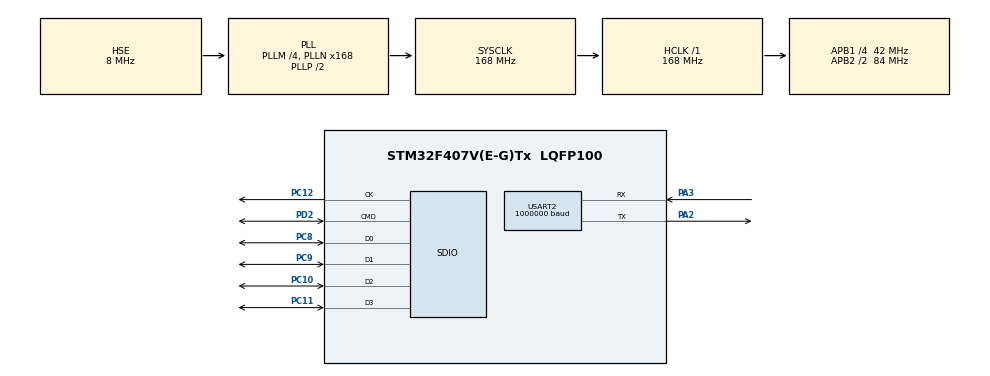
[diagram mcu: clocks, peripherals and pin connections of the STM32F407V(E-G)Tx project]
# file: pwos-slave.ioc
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Mcu.Family=STM32F4
Mcu.Name=STM32F407V(E-G)Tx
Mcu.Package=LQFP100
NVIC.PriorityGroup=NVIC_PRIORITYGROUP_4
PA13.Mode=Serial_Wire
PA13.Signal=SYS_JTMS-SWDIO
PA14.Mode=Serial_Wire
PA14.Signal=SYS_JTCK-SWCLK
PA2.Mode=Asynchronous
PA2.Signal=USART2_TX
PA3.Mode=Asynchronous
PA3.Signal=USART2_RX
PC10.Mode=SD_4_bits_Wide_bus
PC10.Signal=SDIO_D2
PC11.Mode=SD_4_bits_Wide_bus
PC11.Signal=SDIO_D3
PC12.Mode=SD_4_bits_Wide_bus
PC12.Signal=SDIO_CK
PC8.Mode=SD_4_bits_Wide_bus
PC8.Signal=SDIO_D0
PC9.Mode=SD_4_bits_Wide_bus
PC9.Signal=SDIO_D1
PD2.Mode=SD_4_bits_Wide_bus
PD2.Signal=SDIO_CMD
PH0-OSC_IN.Mode=HSE-External-Oscillator
PH0-OSC_IN.Signal=RCC_OSC_IN
PH1-OSC_OUT.Mode=HSE-External-Oscillator
PH1-OSC_OUT.Signal=RCC_OSC_OUT
ProjectManager.HeapSize=0x200
ProjectManager.StackSize=0x400
ProjectManager.TargetToolchain=CMake
RCC.48MHZClocksFreq_Value=48000000
RCC.AHBFreq_Value=168000000
RCC.APB1CLKDivider=RCC_HCLK_DIV4
RCC.APB1Freq_Value=42000000
RCC.APB1TimFreq_Value=84000000
RCC.APB2CLKDivider=RCC_HCLK_DIV2
RCC.APB2Freq_Value=84000000
RCC.APB2TimFreq_Value=168000000
RCC.CortexFreq_Value=168000000
RCC.HCLKFreq_Value=168000000
RCC.HSE_VALUE=8000000
RCC.HSI_VALUE=16000000
RCC.LSE_VALUE=32768
RCC.PLLM=4
RCC.PLLN=168
RCC.PLLQ=7
RCC.PLLSourceVirtual=RCC_PLLSOURCE_HSE
RCC.SYSCLKFreq_VALUE=168000000
RCC.SYSCLKSource=RCC_SYSCLKSOURCE_PLLCLK
RCC.VCOOutputFreq_Value=336000000
SDIO.ClockBypass=SDIO_CLOCK_BYPASS_DISABLE
SDIO.ClockDiv=4
USART2.BaudRate=1000000
USART2.VirtualMode=VM_ASYNC
board=custom

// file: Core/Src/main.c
/* USER CODE BEGIN Header */
/**
 ******************************************************************************
 * @file           : main.c
 * @brief          : Main program body
 ******************************************************************************
 * @attention
 *
 * Copyright (c) 2026 STMicroelectronics.
 * All rights reserved.
 *
 * This software is licensed under terms that can be found in the LICENSE file
 * in the root directory of this software component.
 * If no LICENSE file comes with this software, it is provided AS-IS.
 *
 ******************************************************************************
 */
/* USER CODE END Header */
#include "main.h"
#include "gpio.h"
#include "sdio.h"
#include "usart.h"

/* USER CODE BEGIN Includes */
#ifdef PWOS_ENABLE_MINI9P_SERIAL
#include "mini9p_service.h"
#else
#include "fs_selftest.h"
#include "vofa_firewater.h"
#include <stdio.h>
#endif

/* USER CODE END Includes */

/* USER CODE BEGIN PV */
#ifndef PWOS_ENABLE_MINI9P_SERIAL
HAL_SD_CardInfoTypeDef SDCardInfo;
FS_SelfTestReport g_fs_report;
#endif
#if defined(PWOS_ENABLE_MINI9P_SERIAL) && defined(PWOS_BOARD_ZGT6)
static uint32_t g_led_last_toggle_ms;
#endif
/* USER CODE END PV */
void SystemClock_Config(void);
/* USER CODE BEGIN PFP */
#ifndef PWOS_ENABLE_MINI9P_SERIAL
static void FS_ReportBootStatus(void);
#endif

/* USER CODE END PFP */
/* USER CODE BEGIN 0 */
#ifndef PWOS_ENABLE_MINI9P_SERIAL
static void FS_ReportBootStatus(void) {
  char message[128];
  int pass;

  pass = (g_fs_report.init_status == 0) && (g_fs_report.mkdir_status == 0) &&
         (g_fs_report.write_status == 0) && (g_fs_report.stat_status == 0) &&
         (g_fs_report.read_status == 0) && (g_fs_report.dir_status == 0) &&
         (g_fs_report.compare_status == 0);

  if (snprintf(message, sizeof(message),
               "boot status=%s init=%ld file_size=%lu read=%lu write=%lu",
               pass ? "PASS" : "FAIL", (long)g_fs_report.init_status,
               (unsigned long)g_fs_report.file_size,
               (unsigned long)g_fs_report.bytes_read,
               (unsigned long)g_fs_report.bytes_written) > 0) {
    (void)vofa_firewater_send_text(message);
  }
}
#endif

/* USER CODE END 0 */

int main(void) {

  /* MCU Configuration--------------------------------------------------------*/

  /* Reset of all peripherals, Initializes the Flash interface and the Systick.
   */
  HAL_Init();

  /* Configure the system clock */
  SystemClock_Config();

  /* Initialize all configured peripherals */
  MX_GPIO_Init();
  MX_USART2_UART_Init();
#ifndef PWOS_ENABLE_MINI9P_SERIAL
  MX_SDIO_SD_Init();
#endif
  /* USER CODE BEGIN 2 */
#ifdef PWOS_BOARD_ZGT6
  MX_GPIO_PF9_LED_Init();
#endif
#ifdef PWOS_ENABLE_MINI9P_SERIAL
  if (mini9p_service_init() != 0) {
    Error_Handler();
  }
#else
  (void)vofa_firewater_send_text("boot: sdio ok");
  if (HAL_SD_GetCardInfo(&hsd, &SDCardInfo) == HAL_OK) {
    (void)vofa_firewater_send_text("boot: sd cardinfo ok");
  } else {
    (void)vofa_firewater_send_text("boot: sd cardinfo fail");
  }
  (void)fs_selftest_run(&g_fs_report);
  FS_ReportBootStatus();
#endif
  /* USER CODE END 2 */

  /* Infinite loop */
  while (1) {

    /* USER CODE BEGIN 3 */
#ifdef PWOS_ENABLE_MINI9P_SERIAL
    (void)mini9p_service_poll_once();
#ifdef PWOS_BOARD_ZGT6
    {
      uint32_t now = HAL_GetTick();
      if ((uint32_t)(now - g_led_last_toggle_ms) >= 100U) {
        HAL_GPIO_TogglePin(GPIOF, GPIO_PIN_9);  // PF9 接绿色 LED
        g_led_last_toggle_ms = now;
      }
    }
#endif
#else
    (void)vofa_firewater_send_fs_report(&g_fs_report, HAL_GetTick());
    HAL_Delay(1000);
#endif
  }
  /* USER CODE END 3 */
}

void SystemClock_Config(void) {
  RCC_OscInitTypeDef RCC_OscInitStruct = {0};
  RCC_ClkInitTypeDef RCC_ClkInitStruct = {0};

  /** Configure the main internal regulator output voltage
   */
  __HAL_RCC_PWR_CLK_ENABLE();
  __HAL_PWR_VOLTAGESCALING_CONFIG(PWR_REGULATOR_VOLTAGE_SCALE1);

  /** Initializes the RCC Oscillators according to the specified parameters
   * in the RCC_OscInitTypeDef structure.
   */
  RCC_OscInitStruct.OscillatorType = RCC_OSCILLATORTYPE_HSE;
  RCC_OscInitStruct.HSEState = RCC_HSE_ON;
  RCC_OscInitStruct.PLL.PLLState = RCC_PLL_ON;
  RCC_OscInitStruct.PLL.PLLSource = RCC_PLLSOURCE_HSE;
  RCC_OscInitStruct.PLL.PLLM = 4;
  RCC_OscInitStruct.PLL.PLLN = 168;
  RCC_OscInitStruct.PLL.PLLP = RCC_PLLP_DIV2;
  RCC_OscInitStruct.PLL.PLLQ = 7;
  if (HAL_RCC_OscConfig(&RCC_OscInitStruct) != HAL_OK) {
    Error_Handler();
  }

  /** Initializes the CPU, AHB and APB buses clocks
   */
  RCC_ClkInitStruct.ClockType = RCC_CLOCKTYPE_HCLK | RCC_CLOCKTYPE_SYSCLK |
                                RCC_CLOCKTYPE_PCLK1 | RCC_CLOCKTYPE_PCLK2;
  RCC_ClkInitStruct.SYSCLKSource = RCC_SYSCLKSOURCE_PLLCLK;
  RCC_ClkInitStruct.AHBCLKDivider = RCC_SYSCLK_DIV1;
  RCC_ClkInitStruct.APB1CLKDivider = RCC_HCLK_DIV4;
  RCC_ClkInitStruct.APB2CLKDivider = RCC_HCLK_DIV2;

  if (HAL_RCC_ClockConfig(&RCC_ClkInitStruct, FLASH_LATENCY_5) != HAL_OK) {
    Error_Handler();
  }
}

void Error_Handler(void) {
  /* USER CODE BEGIN Error_Handler_Debug */
#ifndef PWOS_ENABLE_MINI9P_SERIAL
  /* User can add his own implementation to report the HAL error return state */
  {
    const uint8_t error_message[] = "error: entered Error_Handler\n";
    (void)HAL_UART_Transmit(&huart2, error_message, sizeof(error_message) - 1U,
                            100U);
  }
#endif
  __disable_irq();
  while (1) {
  }
  /* USER CODE END Error_Handler_Debug */
}
#ifdef USE_FULL_ASSERT
/**
 * @brief  Reports the name of the source file and the source line number
 *         where the assert_param error has occurred.
 * @param  file: pointer to the source file name
 * @param  line: assert_param error line source number
 * @retval None
 */
void assert_failed(uint8_t *file, uint32_t line) {
  /* USER CODE BEGIN 6 */
  /* User can add his own implementation to report the file name and line
     number, ex: printf("Wrong parameters value: file %s on line %d\r\n", file,
     line) */
  /* USER CODE END 6 */
}
#endif /* USE_FULL_ASSERT */
